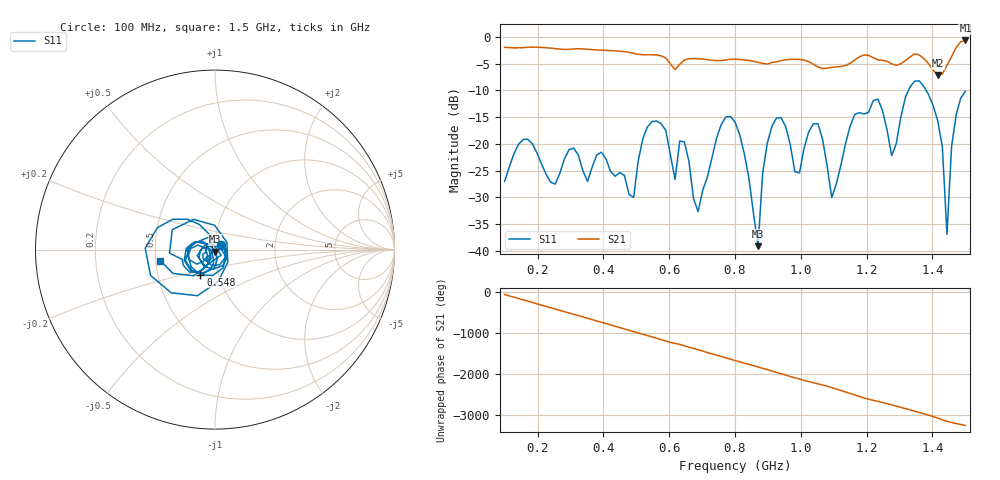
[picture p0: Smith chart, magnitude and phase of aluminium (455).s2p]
! NanoVNA-App
! Date: 2025-09-25 14:58:49
! Start: 100MHz Stop: 1,5GHz Points: 101
! S-Parameter data: F S11 S21 S12 S22
# Hz S RI R 50
!  Frequency  S11_Real  S11_Imag  S21_Real  S21_Imag  S12_Real  S12_Imag  S22_Real  S22_Imag
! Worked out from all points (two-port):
!   101 points, 100 MHz to 1.5 GHz, reference 50 ohm
!   highest |S21| = -0.65 dB at 1.5 GHz (marker M1); lowest = -7.1 dB at 1.416 GHz (marker M2)
!   |S21| within 3 dB of the highest: start of sweep to 579.9 MHz; 1.458 GHz to end of sweep (the widest 2 of 4)
!   lowest |S11| = -39.1 dB at 870 MHz (marker M3), VSWR 1.02, Z = 50.2 - j1.1 ohm
!   |S11| at or under -10 dB: start of sweep to 1.327 GHz; 1.381 GHz to end of sweep
!   S12 and S22 are empty: the file has one direction only
!   S11 on the Smith chart (normalised r, x): 100 MHz: 1.07, +0.06; 548 MHz: 0.82, -0.23; 1.5 GHz: 0.53, -0.07
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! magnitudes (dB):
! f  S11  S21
! 100 MHz  -27.0  -1.9
! 156 MHz  -19.2  -2.0
! 338 MHz  -25.0  -2.2
! 492 MHz  -30.0  -3.1
! 548 MHz  -15.8  -3.3
! 576 MHz  -16.2  -3.5
! 618 MHz  -26.6  -6.1
! 646 MHz  -19.6  -4.3
! 688 MHz  -32.6  -4.1
! 800 MHz  -15.9  -4.1
! 870 MHz  -39.1  -4.7
! 912 MHz  -16.7  -4.8
! 996 MHz  -25.4  -4.2
! 1.038 GHz  -16.2  -5.1
! 1.094 GHz  -30.0  -5.7
! 1.22 GHz  -11.9  -3.9
! 1.276 GHz  -22.2  -5.0
! 1.346 GHz  -8.3  -3.1
! 1.416 GHz  -15.7  -7.1
! 1.444 GHz  -36.9  -5.3
! 1.458 GHz  -20.5  -3.7
! 1.5 GHz  -10.2  -0.6
